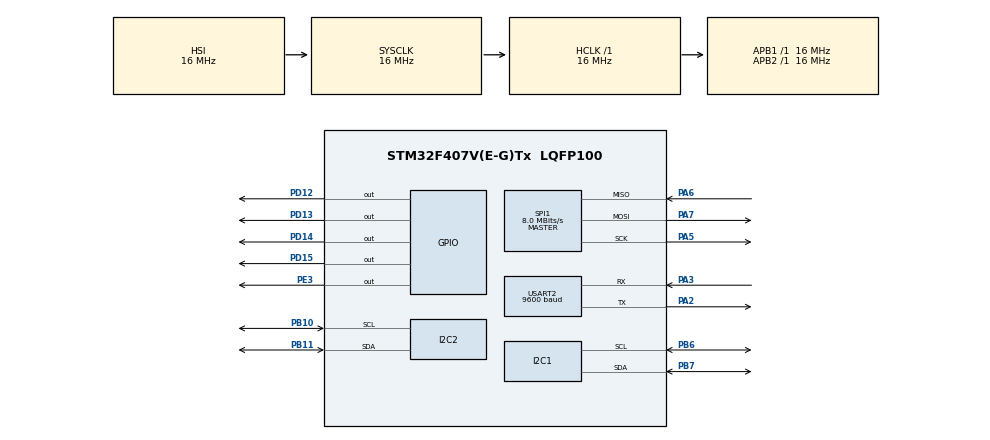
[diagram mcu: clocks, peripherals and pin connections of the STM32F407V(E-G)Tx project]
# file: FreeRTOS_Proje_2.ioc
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FREERTOS.Mutexes01=MutexForUart,Dynamic,NULL
FREERTOS.Queues01=MenuQueue,2,uint16_t,0,Dynamic,NULL,NULL;SensorDataQueue,3,uint8_t,0,Dynamic,NULL,NULL
FREERTOS.Tasks01=Menu_Task,0,128,MenuTask,Default,NULL,Dynamic,NULL,NULL;myTask02,0,128,StartTask02,Default,NULL,Dynamic,NULL,NULL;WriteSensorData,0,128,WriteSensorDataTask,Default,NULL,Dynamic,NULL,NULL
FREERTOS.configUSE_IDLE_HOOK=1
FREERTOS.configUSE_NEWLIB_REENTRANT=1
Mcu.Family=STM32F4
Mcu.Name=STM32F407V(E-G)Tx
Mcu.Package=LQFP100
NVIC.PriorityGroup=NVIC_PRIORITYGROUP_4
NVIC.TIM6_DAC_IRQn=true\:15\:0\:false\:false\:true\:false\:false\:true\:true
NVIC.TimeBase=TIM6_DAC_IRQn
NVIC.TimeBaseIP=TIM6
NVIC.USART2_IRQn=true\:5\:0\:false\:false\:true\:true\:true\:true\:true
PA2.Mode=Asynchronous
PA2.Signal=USART2_TX
PA3.Mode=Asynchronous
PA3.Signal=USART2_RX
PA5.Mode=Full_Duplex_Master
PA5.Signal=SPI1_SCK
PA6.Mode=Full_Duplex_Master
PA6.Signal=SPI1_MISO
PA7.Mode=Full_Duplex_Master
PA7.Signal=SPI1_MOSI
PB10.Mode=I2C
PB10.Signal=I2C2_SCL
PB11.Mode=I2C
PB11.Signal=I2C2_SDA
PB6.Mode=I2C
PB6.Signal=I2C1_SCL
PB7.Mode=I2C
PB7.Signal=I2C1_SDA
PD12.Signal=GPIO_Output
PD13.Signal=GPIO_Output
PD14.Signal=GPIO_Output
PD15.Signal=GPIO_Output
PE3.Signal=GPIO_Output
ProjectManager.HeapSize=0x200
ProjectManager.StackSize=0x400
ProjectManager.TargetToolchain=STM32CubeIDE
RCC.AHBFreq_Value=16000000
RCC.APB1Freq_Value=16000000
RCC.APB2Freq_Value=16000000
RCC.CortexFreq_Value=16000000
RCC.HSE_VALUE=25000000
RCC.HSI_VALUE=16000000
RCC.LSE_VALUE=32768
RCC.SYSCLKFreq_VALUE=16000000
RCC.VCOOutputFreq_Value=192000000
SPI1.CalculateBaudRate=8.0 MBits/s
SPI1.Direction=SPI_DIRECTION_2LINES
SPI1.Mode=SPI_MODE_MASTER
SPI1.VirtualType=VM_MASTER
USART2.BaudRate=9600
USART2.VirtualMode=VM_ASYNC
VP_FREERTOS_VS_CMSIS_V1.Mode=CMSIS_V1
VP_SYS_VS_tim6.Mode=TIM6
board=custom

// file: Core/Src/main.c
/* USER CODE BEGIN Header */
/**
  ******************************************************************************
  * @file           : main.c
  * @brief          : Main program body
  ******************************************************************************
  * @attention
  *
  * Copyright (c) 2024 STMicroelectronics.
  * All rights reserved.
  *
  * This software is licensed under terms that can be found in the LICENSE file
  * in the root directory of this software component.
  * If no LICENSE file comes with this software, it is provided AS-IS.
  *
  ******************************************************************************
  */
/* USER CODE END Header */
#include "main.h"
#include "cmsis_os.h"

/* USER CODE BEGIN Includes */
#include "string.h"
#include "stdio.h"
#include "BMP180.h"
#include "ssd1306.h"				// simdilik kullanilmadi
#include "ssd1306_fonts.h"			// simdilik kullanilmadi
/* USER CODE END Includes */

/* USER CODE BEGIN PD */
#define x_address		(0x29)		// LIS sensorunun x registeri
#define y_address		(0x2B)		// LIS sensorunun y registeri
#define z_address		(0x2D)		// LIS sensorunun z registeri
#define LIS_WHO_AM_I	(0x0F)		// LIS sensorunun sorgulama registeri
#define CTRL_REG4		(0x20)		// LIS sensorunun control registeri
/* USER CODE END PD */

 I2C_HandleTypeDef hi2c1;
I2C_HandleTypeDef hi2c2;

SPI_HandleTypeDef hspi1;

UART_HandleTypeDef huart2;

									/* TASK, QUEUE, SEMAPHORE (Mutex) icin handle*/
osThreadId Menu_TaskHandle;
osThreadId myTask02Handle;
osThreadId WriteSensorDataHandle;
osMessageQId MenuQueueHandle;
osMessageQId SensorDataQueueHandle;
osMutexId MutexForUartHandle;
/* USER CODE BEGIN PV */

								/* FOR STM32F407 DISCOVERY */
								/*      DOGUKAN AKCA	   */

uint8_t rx_Usart[10];			// UART kesmesinden gelen verinin tutulacagi dizi
uint8_t rx_Data[10];			// UART kesmesinden gelen verinin karakter karakter yazilacagi dizi
uint8_t rx_count = 0;			// Diziye yazilacak karakterleri kontrol edecek sayac degiskeni

								/* Seri ekrana basilacak menu dizisi*/
char menuDisplay[] = {"\r\n USER LEDS ON 	    --> 1 \
					   \r\n USER LEDS OFF 	    --> 2 \
					   \r\n READ LIS3DSH DATA 	    --> 3 \
					   \r\n READ BMP180 DATA	    --> 4 \
					   \r\n\n Choose your option here : "};

char *firstMessage = "Hello, press ENTER to start the system!";		// Giris mesaji
int typeOfMsg = 0;													// queue kontrolu icin tanimlandi

struct xMessage							// sensor verilerinin queue uzerinden gonderilmesi icin olustrulan struct yapisi
{
	char ucMessageID;
	int8_t sensorData[3];
} xMessage_t;

/* USER CODE END PV */

void SystemClock_Config(void);
static void MX_GPIO_Init(void);
static void MX_USART2_UART_Init(void);
static void MX_I2C1_Init(void);
static void MX_I2C2_Init(void);
static void MX_SPI1_Init(void);
void MenuTask(void const * argument);
void StartTask02(void const * argument);
void WriteSensorDataTask(void const * argument);

/* USER CODE BEGIN PFP */
void PrintMessageToDisplay(char *message);									// seri ekrana veri yazacak fonksiyon
int8_t ReadSpi(uint8_t addres, SPI_HandleTypeDef *spiX);					// LIS sensorunden veri okumak icin fonksiyon
void SensorInit(void);														// sensor baslatma
void WriteSpi(uint8_t addres, uint8_t data, SPI_HandleTypeDef *spiX);		// LIS sensorune veri yazmak icin fonksiyon
/* USER CODE END PFP */

int main(void)
{

  /* MCU Configuration--------------------------------------------------------*/

  /* Reset of all peripherals, Initializes the Flash interface and the Systick. */
  HAL_Init();

  /* Configure the system clock */
  SystemClock_Config();

  /* Initialize all configured peripherals */
  MX_GPIO_Init();
  MX_USART2_UART_Init();
  MX_I2C1_Init();
  MX_I2C2_Init();
  MX_SPI1_Init();
  /* USER CODE BEGIN 2 */

  SensorInit();

  HAL_UART_Receive_IT(&huart2, rx_Usart, 1);			// UART kesmesi icin baslatma
  PrintMessageToDisplay(firstMessage);					// seri ekrana ilk mesaji yaz

  /* USER CODE END 2 */

  /* Create the mutex(es) */
  /* definition and creation of MutexForUart */
  osMutexDef(MutexForUart);										// mutex olusturma
  MutexForUartHandle = osMutexCreate(osMutex(MutexForUart));

  /* Create the queue(s) */
  /* definition and creation of MenuQueue */
  osMessageQDef(MenuQueue, 2, uint16_t);						// seri ekrana veri yazmak icin kullanılan kuyrugu olusturma
  MenuQueueHandle = osMessageCreate(osMessageQ(MenuQueue), NULL);

  /* definition and creation of SensorDataQueue */
  osMessageQDef(SensorDataQueue, 3, sizeof(struct xMessage*));  // sensor verilerini yazmak ve okumak icin kuyruk olusturma
  SensorDataQueueHandle = osMessageCreate(osMessageQ(SensorDataQueue), NULL);

  /* Create the thread(s) */
  /* definition and creation of Menu_Task */
  osThreadDef(Menu_Task, MenuTask, osPriorityNormal, 0, 128);			// TASK'larin olusturulmasi
  Menu_TaskHandle = osThreadCreate(osThread(Menu_Task), NULL);

  /* definition and creation of myTask02 */
  osThreadDef(myTask02, StartTask02, osPriorityNormal, 0, 128);
  myTask02Handle = osThreadCreate(osThread(myTask02), NULL);

  /* definition and creation of WriteSensorData */
  osThreadDef(WriteSensorData, WriteSensorDataTask, osPriorityAboveNormal, 0, 128);
  WriteSensorDataHandle = osThreadCreate(osThread(WriteSensorData), NULL);

  /* Start scheduler */
  osKernelStart();					// Zamanlayiciyi baslatma

  /* We should never get here as control is now taken by the scheduler */
  /* Infinite loop */
  while (1)
  {

  }
}

void SystemClock_Config(void)
{
  RCC_OscInitTypeDef RCC_OscInitStruct = {0};
  RCC_ClkInitTypeDef RCC_ClkInitStruct = {0};

  /** Configure the main internal regulator output voltage
  */
  __HAL_RCC_PWR_CLK_ENABLE();
  __HAL_PWR_VOLTAGESCALING_CONFIG(PWR_REGULATOR_VOLTAGE_SCALE1);

  /** Initializes the RCC Oscillators according to the specified parameters
  * in the RCC_OscInitTypeDef structure.
  */
  RCC_OscInitStruct.OscillatorType = RCC_OSCILLATORTYPE_HSI;
  RCC_OscInitStruct.HSIState = RCC_HSI_ON;
  RCC_OscInitStruct.HSICalibrationValue = RCC_HSICALIBRATION_DEFAULT;
  RCC_OscInitStruct.PLL.PLLState = RCC_PLL_NONE;
  if (HAL_RCC_OscConfig(&RCC_OscInitStruct) != HAL_OK)
  {
    Error_Handler();
  }

  /** Initializes the CPU, AHB and APB buses clocks
  */
  RCC_ClkInitStruct.ClockType = RCC_CLOCKTYPE_HCLK|RCC_CLOCKTYPE_SYSCLK
                              |RCC_CLOCKTYPE_PCLK1|RCC_CLOCKTYPE_PCLK2;
  RCC_ClkInitStruct.SYSCLKSource = RCC_SYSCLKSOURCE_HSI;
  RCC_ClkInitStruct.AHBCLKDivider = RCC_SYSCLK_DIV1;
  RCC_ClkInitStruct.APB1CLKDivider = RCC_HCLK_DIV1;
  RCC_ClkInitStruct.APB2CLKDivider = RCC_HCLK_DIV1;

  if (HAL_RCC_ClockConfig(&RCC_ClkInitStruct, FLASH_LATENCY_0) != HAL_OK)
  {
    Error_Handler();
  }
}

static void MX_I2C1_Init(void)
{

  hi2c1.Instance = I2C1;
  hi2c1.Init.ClockSpeed = 100000;
  hi2c1.Init.DutyCycle = I2C_DUTYCYCLE_2;
  hi2c1.Init.OwnAddress1 = 0;
  hi2c1.Init.AddressingMode = I2C_ADDRESSINGMODE_7BIT;
  hi2c1.Init.DualAddressMode = I2C_DUALADDRESS_DISABLE;
  hi2c1.Init.OwnAddress2 = 0;
  hi2c1.Init.GeneralCallMode = I2C_GENERALCALL_DISABLE;
  hi2c1.Init.NoStretchMode = I2C_NOSTRETCH_DISABLE;
  if (HAL_I2C_Init(&hi2c1) != HAL_OK)
  {
    Error_Handler();
  }

}

static void MX_I2C2_Init(void)
{

  hi2c2.Instance = I2C2;
  hi2c2.Init.ClockSpeed = 100000;
  hi2c2.Init.DutyCycle = I2C_DUTYCYCLE_2;
  hi2c2.Init.OwnAddress1 = 0;
  hi2c2.Init.AddressingMode = I2C_ADDRESSINGMODE_7BIT;
  hi2c2.Init.DualAddressMode = I2C_DUALADDRESS_DISABLE;
  hi2c2.Init.OwnAddress2 = 0;
  hi2c2.Init.GeneralCallMode = I2C_GENERALCALL_DISABLE;
  hi2c2.Init.NoStretchMode = I2C_NOSTRETCH_DISABLE;
  if (HAL_I2C_Init(&hi2c2) != HAL_OK)
  {
    Error_Handler();
  }

}

static void MX_SPI1_Init(void)
{

  /* SPI1 parameter configuration*/
  hspi1.Instance = SPI1;
  hspi1.Init.Mode = SPI_MODE_MASTER;
  hspi1.Init.Direction = SPI_DIRECTION_2LINES;
  hspi1.Init.DataSize = SPI_DATASIZE_8BIT;
  hspi1.Init.CLKPolarity = SPI_POLARITY_LOW;
  hspi1.Init.CLKPhase = SPI_PHASE_1EDGE;
  hspi1.Init.NSS = SPI_NSS_SOFT;
  hspi1.Init.BaudRatePrescaler = SPI_BAUDRATEPRESCALER_64;
  hspi1.Init.FirstBit = SPI_FIRSTBIT_MSB;
  hspi1.Init.TIMode = SPI_TIMODE_DISABLE;
  hspi1.Init.CRCCalculation = SPI_CRCCALCULATION_DISABLE;
  hspi1.Init.CRCPolynomial = 10;
  if (HAL_SPI_Init(&hspi1) != HAL_OK)
  {
    Error_Handler();
  }

}

static void MX_USART2_UART_Init(void)
{

  huart2.Instance = USART2;
  huart2.Init.BaudRate = 9600;
  huart2.Init.WordLength = UART_WORDLENGTH_8B;
  huart2.Init.StopBits = UART_STOPBITS_1;
  huart2.Init.Parity = UART_PARITY_NONE;
  huart2.Init.Mode = UART_MODE_TX_RX;
  huart2.Init.HwFlowCtl = UART_HWCONTROL_NONE;
  huart2.Init.OverSampling = UART_OVERSAMPLING_16;
  if (HAL_UART_Init(&huart2) != HAL_OK)
  {
    Error_Handler();
  }

}

static void MX_GPIO_Init(void)
{
  GPIO_InitTypeDef GPIO_InitStruct = {0};

  /* GPIO Ports Clock Enable */
  __HAL_RCC_GPIOE_CLK_ENABLE();
  __HAL_RCC_GPIOA_CLK_ENABLE();
  __HAL_RCC_GPIOB_CLK_ENABLE();
  __HAL_RCC_GPIOD_CLK_ENABLE();

  /*Configure GPIO pin Output Level */
  HAL_GPIO_WritePin(GPIOE, GPIO_PIN_3, GPIO_PIN_RESET);

  /*Configure GPIO pin Output Level */
  HAL_GPIO_WritePin(GPIOD, GPIO_PIN_12|GPIO_PIN_13|GPIO_PIN_14|GPIO_PIN_15, GPIO_PIN_RESET);

  /*Configure GPIO pin : PE3 */
  GPIO_InitStruct.Pin = GPIO_PIN_3;
  GPIO_InitStruct.Mode = GPIO_MODE_OUTPUT_PP;
  GPIO_InitStruct.Pull = GPIO_NOPULL;
  GPIO_InitStruct.Speed = GPIO_SPEED_FREQ_LOW;
  HAL_GPIO_Init(GPIOE, &GPIO_InitStruct);

  /*Configure GPIO pins : PD12 PD13 PD14 PD15 */
  GPIO_InitStruct.Pin = GPIO_PIN_12|GPIO_PIN_13|GPIO_PIN_14|GPIO_PIN_15;
  GPIO_InitStruct.Mode = GPIO_MODE_OUTPUT_PP;
  GPIO_InitStruct.Pull = GPIO_NOPULL;
  GPIO_InitStruct.Speed = GPIO_SPEED_FREQ_LOW;
  HAL_GPIO_Init(GPIOD, &GPIO_InitStruct);

}

/* USER CODE BEGIN 4 */

void vApplicationIdleHook( void )						// IDLE task'i ekledim
{
	__WFI();											// uyku moduna alir
}

void HAL_UART_RxCpltCallback(UART_HandleTypeDef *huart)
{
	if(huart == &huart2)
	{
		BaseType_t xHigherPriorityTaskWoken = pdFALSE;			// baglam degisikligi icin gerekli TASK durum degiskeni

		rx_Data[rx_count++] = rx_Usart[0];			// Seri ekrandan gelen her karakteri rx_data dizisine kaydeder
		if(rx_Data[rx_count-1] == '\n')				// ENTER'a basildi mi?
		{
			rx_count = 0;
			xQueueSendFromISR(MenuQueueHandle, rx_Data, &xHigherPriorityTaskWoken);				// kuyruk dolunca Task02'nin engelini kaldiracaktir
			xTaskNotifyFromISR(Menu_TaskHandle, 0, eNoAction, &xHigherPriorityTaskWoken);		// Menu_Task icin bildirim gonderir ve engelini kaldırarak calismasini saglar
		}

		__HAL_UART_CLEAR_FLAG(&huart2, UART_FLAG_RXNE);			// UART bayragini temizle
		HAL_UART_Receive_IT(&huart2, rx_Usart, 1);				// Tekrardan kesmeye girebilmek icin aktif ettik

		if(xHigherPriorityTaskWoken == pdTRUE)					// Eger bildirim sayesinde daha yuksek oncelikli bir Task varsa baglam degisikligi yap
		{
				portYIELD_FROM_ISR(xHigherPriorityTaskWoken);	// Baglam degisikligi
		}
	}
}

void PrintMessageToDisplay(char *message)						// seri ekrana veri yazmak icin fonksiyon
{
	while(__HAL_UART_GET_FLAG(&huart2, UART_FLAG_TXE) != SET);				// UART gonderim bufferi bos mu? kontrol et
	HAL_UART_Transmit(&huart2, (uint8_t*)message, strlen(message), 500);	// veriyi seri ekrana yaz
}

void SensorInit(void)
{
	ReadSpi(LIS_WHO_AM_I, &hspi1);			// LIS sensor baslatma
	HAL_Delay(100);							// bekleme suresi
	WriteSpi(CTRL_REG4, 0xE7, &hspi1);		// Veri cikis araliği 12Hz, X,Y ve Z ekseni aktif
	HAL_Delay(40);							// bekleme suresi
	BMP180_Start();							// BMP sensor baslatma
	HAL_Delay(40);							// bekleme suresi
}

int8_t ReadSpi(uint8_t addres, SPI_HandleTypeDef *spiX)				// LIS sensorunden okuma yapmak icin fonksiyon
{

	int8_t buffer;

	if(HAL_SPI_GetState(spiX) == HAL_SPI_STATE_READY)
	{
		addres = addres | 0x80;							// addresin basina 1 yazarak okuma yapcagimizi soyluyoruz

		HAL_GPIO_WritePin(GPIOE, GPIO_PIN_3, GPIO_PIN_RESET);		// sensorun CS pinini resetle (sensorle haberlesmeyi baslat)

		HAL_SPI_Transmit(spiX, &addres, 1, 10);

		HAL_SPI_Receive(spiX, &buffer, 1, 10);			// alinan veriyi buffer'a koy

		HAL_GPIO_WritePin(GPIOE, GPIO_PIN_3, GPIO_PIN_SET);			// sensorun CS pinini setle (sensorle haberlesmeyi durdur)
	}

	return buffer;

}

void WriteSpi(uint8_t addres, uint8_t data, SPI_HandleTypeDef *spiX)
{

	HAL_GPIO_WritePin(GPIOE, GPIO_PIN_3, GPIO_PIN_RESET);		//sensorun CS pinini resetle (sensorle haberlesmeyi baslat)

	HAL_SPI_Transmit(spiX, &addres, 1, 100);

	HAL_SPI_Transmit(spiX, &data, 1, 100);

	HAL_GPIO_WritePin(GPIOE, GPIO_PIN_3, GPIO_PIN_SET);			// sensorun CS pinini setle (sensorle haberlesmeyi durdur)

}

/* USER CODE END 4 */

void MenuTask(void const * argument)
{
  /* USER CODE BEGIN 5 */
	//char *display = menuDisplay;
  /* Infinite loop */
  for(;;)
  {
    if(xTaskNotifyWait(0, 0, NULL, portMAX_DELAY) == pdTRUE)		// UART'dan kesme bekle (ENTER'a basilirsa bu taskin engeli kalkar)
    {
    	xSemaphoreTake(MutexForUartHandle, portMAX_DELAY);			// Bu task ile StartTask aynı seri ekrana veri yazmak icin ikiside UART2'yi kullanmaktadir
    																// fakat ayni anda sadece biri kullanabilmektedir. Aynı anda kullanmlarini engellemek icin
    	PrintMessageToDisplay(menuDisplay);							// Mutex kullaniyoruz boylece iki gorevde ayni anda UART2'yi kullanamayacak.
    	xSemaphoreGive(MutexForUartHandle);							// Mutexi ilk alan UART2'yi kullanacak daha sonra mutexi birakacak ve digeri mutexi alarak UART2'yi kullanacak.
    }
  }
  /* USER CODE END 5 */
}

void StartTask02(void const * argument)			// USART'dan (seri ekran) gelen verileri isleyecek TASK
{
  /* USER CODE BEGIN StartTask02 */
	uint8_t rx_que[2];							// USART2'ye gelen verinin bufferlanacagi dizi
	struct xMessage *pxTXMessage;				// sensor verilerini kuyruga yazmak icin olusturulan struct yapisi
  /* Infinite loop */
  for(;;)
  {
	  pxTXMessage = &xMessage_t;
	  xQueueReceive(MenuQueueHandle, rx_que, portMAX_DELAY);			// Seri ekrana yazilan veriyi al
	  if(rx_que[0] == '1' && rx_que[1] == '\n')							// Veriye gore kontrol yap
		  HAL_GPIO_WritePin(GPIOD, GPIO_PIN_All, GPIO_PIN_SET);			// Tum kullanici ledlerini yak
	  else if(rx_que[0] == '2' && rx_que[1] == '\n')
		  HAL_GPIO_WritePin(GPIOD, GPIO_PIN_All, GPIO_PIN_RESET);		// Tum kullanici ledlerini sondur
	  else if(rx_que[0] == '3' && rx_que[1] == '\n')
	  {
		  typeOfMsg = 1;
		  pxTXMessage->sensorData[0] = ReadSpi(x_address, &hspi1);		// LIS sensor verilerini struct'a yaz
		  pxTXMessage->sensorData[1] = ReadSpi(y_address, &hspi1);
		  pxTXMessage->sensorData[2] = ReadSpi(z_address, &hspi1);

		  xQueueSend(SensorDataQueueHandle,&pxTXMessage,portMAX_DELAY);	// Struct'a yazilan verileri kuyruga yaz
	  }
	  else if(rx_que[0] == '4' && rx_que[1] == '\n')
	  {
		  typeOfMsg = 2;
		  pxTXMessage->sensorData[0] 	= BMP180_GetTemp();				// BMP sensor verilerini struct'a yaz
		  pxTXMessage->sensorData[1] 	= BMP180_GetPress (0);
		  pxTXMessage->sensorData[2] 	= BMP180_GetAlt(0);

		  xQueueSend(SensorDataQueueHandle,&pxTXMessage,portMAX_DELAY);	// Struct'a yazilan verileri kuyruga yaz
	  }
	  else
	  {
		  PrintMessageToDisplay("\n\nPLEASE TRY AGAIN!!!\n\n");
	  }
  }
  /* USER CODE END StartTask02 */
}

void WriteSensorDataTask(void const * argument)				// sensor verilerini kuyruktan okuyup seri ekrana yazacak TASK
{
  /* USER CODE BEGIN WriteSensorDataTask */
	char Data[50];											// kuyruktan struct'a alinan verileri buraya kopyaliyorum
	struct xMessage *pxRXMessage;							// kuyruktan okunacak verileri aynı tip struct'a alinmasi gerekli!
  /* Infinite loop */
  for(;;)
  {
    xQueueReceive(SensorDataQueueHandle, &pxRXMessage, portMAX_DELAY);		// kuyruk doldugunda bu task'in engeli kaldirilacak ve calismaya basliyacak

    if(typeOfMsg == 1)														// LIS sensor icin seri ekran yazisi
    	sprintf(Data, "\r\n\nX axis : %d\nY axis : %d\nZ axis : %d\n\n", pxRXMessage->sensorData[0], pxRXMessage->sensorData[1], pxRXMessage->sensorData[2]);

    else if(typeOfMsg == 2)													// BMP sensor icin seri ekran yazisi
    	sprintf(Data, "\r\n\nTemperature : %d\nPressure : %d\nAltitude : %d\n\n", pxRXMessage->sensorData[0], pxRXMessage->sensorData[1], pxRXMessage->sensorData[2]);

    while(__HAL_UART_GET_FLAG(&huart2, UART_FLAG_TXE) != SET);				// UART gonderim bufferi bos mu? kontrol et

    xSemaphoreTake(MutexForUartHandle, portMAX_DELAY);						// MenuTask'i icinde anlattigim mutex yapisi!
    HAL_UART_Transmit(&huart2, (uint8_t*)Data, strlen(Data), 500);
    xSemaphoreGive(MutexForUartHandle);

  }
  /* USER CODE END WriteSensorDataTask */
}

void HAL_TIM_PeriodElapsedCallback(TIM_HandleTypeDef *htim)
{
  if (htim->Instance == TIM6) {
    HAL_IncTick();
  }
}

void Error_Handler(void)
{
  __disable_irq();
  while (1)
  {
  }
}

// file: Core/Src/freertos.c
/* USER CODE BEGIN Header */
/**
  ******************************************************************************
  * File Name          : freertos.c
  * Description        : Code for freertos applications
  ******************************************************************************
  * @attention
  *
  * Copyright (c) 2024 STMicroelectronics.
  * All rights reserved.
  *
  * This software is licensed under terms that can be found in the LICENSE file
  * in the root directory of this software component.
  * If no LICENSE file comes with this software, it is provided AS-IS.
  *
  ******************************************************************************
  */
/* USER CODE END Header */

#include "FreeRTOS.h"
#include "task.h"
#include "main.h"

/* GetIdleTaskMemory prototype (linked to static allocation support) */
void vApplicationGetIdleTaskMemory( StaticTask_t **ppxIdleTaskTCBBuffer, StackType_t **ppxIdleTaskStackBuffer, uint32_t *pulIdleTaskStackSize );

/* Hook prototypes */
void vApplicationIdleHook(void);

/* USER CODE BEGIN 2 */
__weak void vApplicationIdleHook( void )
{
   /* vApplicationIdleHook() will only be called if configUSE_IDLE_HOOK is set
   to 1 in FreeRTOSConfig.h. It will be called on each iteration of the idle
   task. It is essential that code added to this hook function never attempts
   to block in any way (for example, call xQueueReceive() with a block time
   specified, or call vTaskDelay()). If the application makes use of the
   vTaskDelete() API function (as this demo application does) then it is also
   important that vApplicationIdleHook() is permitted to return to its calling
   function, because it is the responsibility of the idle task to clean up
   memory allocated by the kernel to any task that has since been deleted. */
}
/* USER CODE END 2 */

/* USER CODE BEGIN GET_IDLE_TASK_MEMORY */
static StaticTask_t xIdleTaskTCBBuffer;
static StackType_t xIdleStack[configMINIMAL_STACK_SIZE];

void vApplicationGetIdleTaskMemory( StaticTask_t **ppxIdleTaskTCBBuffer, StackType_t **ppxIdleTaskStackBuffer, uint32_t *pulIdleTaskStackSize )
{
  *ppxIdleTaskTCBBuffer = &xIdleTaskTCBBuffer;
  *ppxIdleTaskStackBuffer = &xIdleStack[0];
  *pulIdleTaskStackSize = configMINIMAL_STACK_SIZE;
  /* place for user code */
}
/* USER CODE END GET_IDLE_TASK_MEMORY */
